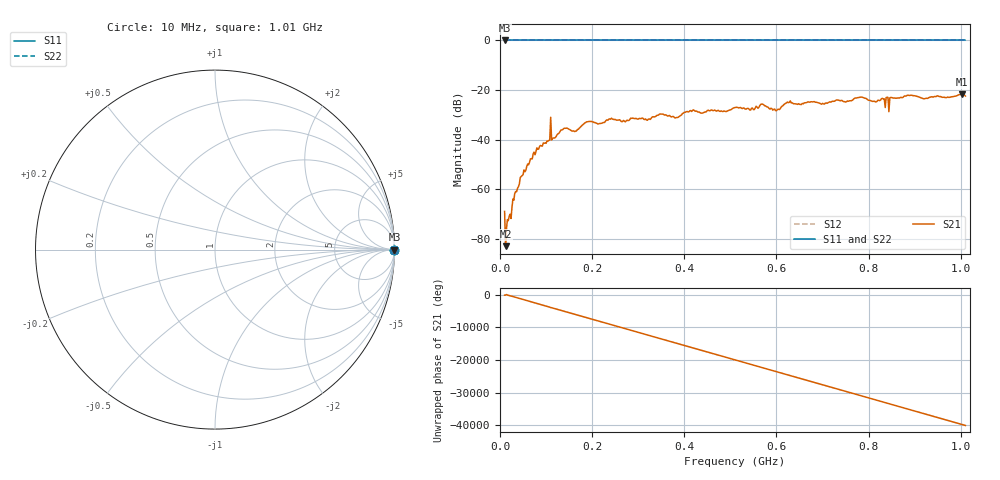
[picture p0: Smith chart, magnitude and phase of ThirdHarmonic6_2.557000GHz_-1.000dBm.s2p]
! 8/17/2025 5:16:03 AM
! C:\ANRITSUVNA\TEMP\TEMP.S2P
! CHANNEL.1
! TR.MEASUREMENT
! RAW.DATA
! RF.CORRECTION.OFF
! AVERAGING.OFF
! IF.BANDWIDTH: 5KHZ
! SWEEPTYPE:  FREQ.SWEEP(Linear)
! Reference Plane Port Info
! PORT:  PORT1  PORT2
! DISTANCE:  0  m  0  m
! TIME:  0  s  0  s
! PHASE.OFFSET:  0  deg.  0  deg.
! LOSS:  0  dB  0  dB
! REF.LOSS:  0  dB  0  dB
! REF.FREQ:  0  Hz  0  Hz
! Power Info
! POWER:  -20  dBm  -20  dBm
! EFF.POWER:  -20  dBm  -20  dBm
! SOURCE.ATTEN:  0  dB  0  dB
! TEST.ATTEN:  0  dB  0  dB
# GHZ S RI R 50.0
! FREQ.GHZ  S11RE  S11IM  S21RE  S21IM  S12RE  S12IM  S22RE  S22IM
!; PortSelection: Port_12
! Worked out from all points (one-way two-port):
!   501 points, 10 MHz to 1.01 GHz, reference 50 ohm
!   highest |S21| = -21.63 dB at 1.002 GHz (marker M1); lowest = -82.9 dB at 12 MHz (marker M2)
!   lowest |S11| = 0.0 dB at 10 MHz (marker M3)
!   |S11| at or under -10 dB: nowhere
!   |S22| runs from 0.0 to 0.0 dB; largest |S21 - S12| = 1.1
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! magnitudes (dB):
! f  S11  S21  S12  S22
! 10 MHz  0.0  -68.9  0.0  0.0
! 12 MHz  0.0  -82.9  0.0  0.0
! 16 MHz  0.0  -72.2  0.0  0.0
! 30 MHz  0.0  -64.4  0.0  0.0
! 48 MHz  0.0  -54.4  0.0  0.0
! 76 MHz  0.0  -46.0  0.0  0.0
! 104 MHz  0.0  -40.6  0.0  0.0
! 106 MHz  0.0  -40.3  0.0  0.0
! 116 MHz  0.0  -39.3  0.0  0.0
! 136 MHz  0.0  -36.0  0.0  0.0
! 178 MHz  0.0  -34.2  0.0  0.0
! 344 MHz  0.0  -30.1  0.0  0.0
! 382 MHz  0.0  -31.1  0.0  0.0
! 416 MHz  0.0  -28.6  0.0  0.0
! 510 MHz  0.0  -27.0  0.0  0.0
! 570 MHz  0.0  -25.7  0.0  0.0
! 602 MHz  0.0  -27.8  0.0  0.0
! 626 MHz  0.0  -25.1  0.0  0.0
! 678 MHz  0.0  -24.8  0.0  0.0
! 844 MHz  0.0  -28.7  0.0  0.0
! 1.002 GHz  0.0  -21.6  0.0  0.0
! 1.01 GHz  0.0  -22.4  0.0  0.0
